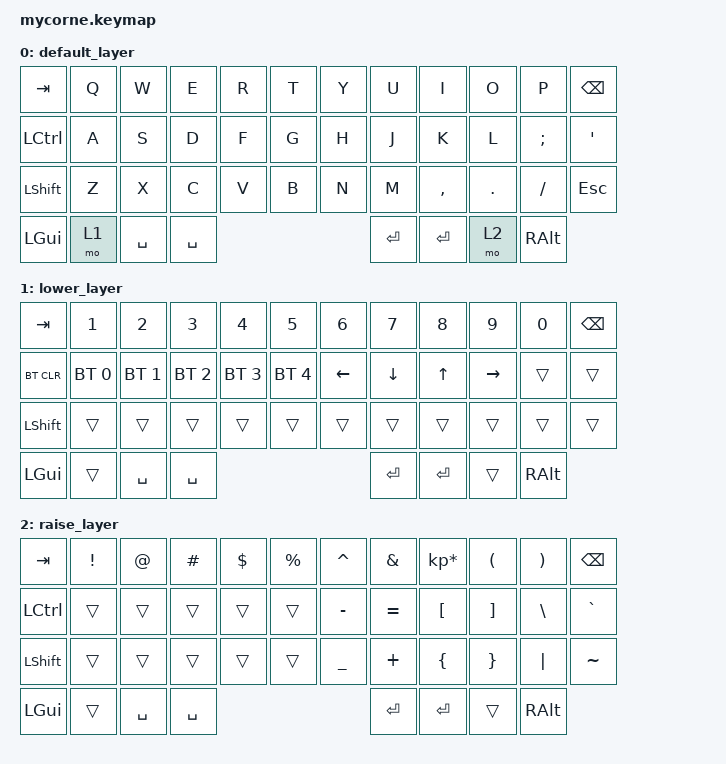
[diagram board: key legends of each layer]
/*
 * Copyright (c) 2020 The ZMK Contributors
 *
 * SPDX-License-Identifier: MIT
 */

#include <behaviors.dtsi>
#include <dt-bindings/zmk/keys.h>
#include <dt-bindings/zmk/bt.h>

/ {
        keymap {
                compatible = "zmk,keymap";

                default_layer {
                        bindings = <
// -----------------------------------------------------------------------------------------
//|  TAB    |  Q  |  W  |  E  |  R  |  T  |||||  Y  |  U   |  I  |  O  |  P     | BKSP    |
   &kp TAB   &kp Q &kp W &kp E &kp R &kp T     &kp Y &kp U  &kp I &kp O &kp P    &kp BSPC
//| CTRL    |  A  |  S  |  D  |  F  |  G  |||||  H  |  J   |  K  |  L  |  ;     |  '      |
   &kp LCTRL &kp A &kp S &kp D &kp F &kp G     &kp H &kp J  &kp K &kp L &kp SEMI &kp SQT
//|  SHFT   |  Z  |  X  |  C  |  V  |  B  |||||  N  |  M   |  ,  |  .  |  /     | ESC     |
   &kp LSHFT &kp Z &kp X &kp C &kp V &kp B     &kp N &kp M  &kp COMMA &kp DOT &kp FSLH &kp ESC
//   | GUI    | LWR | SPC     | SPC       ||||| ENT   | ENT    | RSE | ALT    |   
      &kp LGUI &mo 1 &kp SPACE &kp SPACE       &kp RET  &kp RET &mo 2 &kp RALT
                        >;
                };
                lower_layer {
                        bindings = <
//-----------------------------------------------------------------------------------------
//|  TAB     |  1         |  2         |  3         |  4         |  5         |||||  6     |  7     |  8   |  9      |  0   | BKSP   |
   &kp TAB    &kp N1       &kp N2       &kp N3       &kp N4       &kp N5           &kp N6   &kp N7   &kp N8 &kp N9    &kp N0 &kp BSPC
//| BTCLR    | BT1        | BT2        | BT3        | BT4        | BT5        ||||| LFT    | DWN    |  UP  | RGT     |      |        |
   &bt BT_CLR &bt BT_SEL 0 &bt BT_SEL 1 &bt BT_SEL 2 &bt BT_SEL 3 &bt BT_SEL 4     &kp LEFT &kp DOWN &kp UP &kp RIGHT &trans &trans
//| SHFT     |            |            |            |            |            |||||        |        |      |         |      |        |
   &kp LSHFT  &trans       &trans       &trans       &trans       &trans           &trans   &trans   &trans &trans    &trans &trans
//                                     | GUI    |       |      SPC |      SPC ||||| ENT   | ENT   |      | ALT    |
                                        &kp LGUI &trans  &kp SPACE  &kp SPACE      &kp RET &kp RET &trans &kp RALT
                        >;
                };

                raise_layer {
                        bindings = <
//-----------------------------------------------------------------------------------------
//|  TAB    |  !     |  @   |  #     |  $     |  %      |||||  ^      |  &      |  *            |  (     |  )     | BKSP   |
   &kp TAB   &kp EXCL &kp AT &kp HASH &kp DLLR &kp PRCNT     &kp CARET &kp AMPS  &kp KP_MULTIPLY &kp LPAR &kp RPAR &kp BSPC
//| CTRL    |        |      |        |        |         |||||  -      |  =      |  [            |  ]     |  \     |  `     |
   &kp LCTRL &trans   &trans &trans   &trans   &trans        &kp MINUS &kp EQUAL &kp LBKT        &kp RBKT &kp BSLH &kp GRAVE
//| SHFT    |        |      |        |        |         |||||  _      |  +      |  {            |  }     | "|"    |  ~      |
   &kp LSHFT &trans   &trans &trans   &trans   &trans        &kp UNDER &kp PLUS  &kp LBRC        &kp RBRC &kp PIPE &kp TILDE
//                 | GUI    |       | SPC     | SPC     ||||| ENT   | ENT   |      | ALT       |
                    &kp LGUI &trans  &kp SPACE &kp SPACE     &kp RET &kp RET &trans    &kp RALT
                        >;
                };
        };
};
